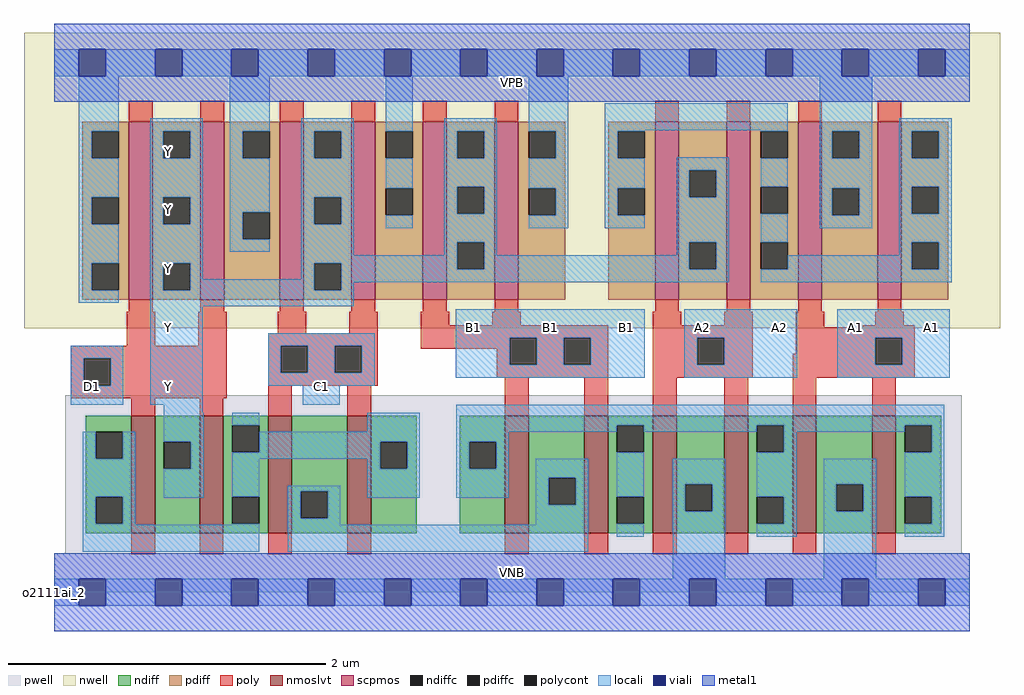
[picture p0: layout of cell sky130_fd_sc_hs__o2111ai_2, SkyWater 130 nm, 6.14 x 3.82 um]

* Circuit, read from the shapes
.subckt sky130_fd_sc_hs__o2111ai_2 A1 A2 B1 C1 D1 VGND VNB VPB VPWR Y
XM1 Y D1 n1 VNB sky130_fd_pr__nfet_01v8_lvt w=0.74 l=0.15 m=2
XM2 n2 C1 n1 VNB sky130_fd_pr__nfet_01v8_lvt w=0.74 l=0.15 m=2
XM3 n2 B1 n3 VNB sky130_fd_pr__nfet_01v8_lvt w=0.74 l=0.15 m=2
XM4 VGND A2 n3 VNB sky130_fd_pr__nfet_01v8_lvt w=0.74 l=0.15 m=2
XM5 VGND A1 n3 VNB sky130_fd_pr__nfet_01v8_lvt w=0.74 l=0.15 m=2
XM6 Y D1 VPWR VPB sky130_fd_pr__pfet_01v8 w=1.12 l=0.15 m=2
XM7 Y C1 VPWR VPB sky130_fd_pr__pfet_01v8 w=1.12 l=0.15 m=2
XM8 Y B1 VPWR VPB sky130_fd_pr__pfet_01v8 w=1.12 l=0.15 m=2
XM9 Y A2 n4 VPB sky130_fd_pr__pfet_01v8 w=1.12 l=0.15 m=2
XM10 VPWR A1 n4 VPB sky130_fd_pr__pfet_01v8 w=1.12 l=0.15 m=2
.ends

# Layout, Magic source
magic
tech sky130A
magscale 1 2
<< nwell >>
rect -38 332 1190 704
<< pwell >>
rect 14 49 1142 248
rect 0 0 1152 49
<< scpmos >>
rect 94 368 124 592
rect 184 368 214 592
rect 284 368 314 592
rect 374 368 404 592
rect 464 368 494 592
rect 554 368 584 592
rect 756 368 786 592
rect 846 368 876 592
rect 936 368 966 592
rect 1036 368 1066 592
<< nmoslvt >>
rect 97 74 127 222
rect 183 74 213 222
rect 269 74 299 222
rect 369 74 399 222
rect 567 74 597 222
rect 667 74 697 222
rect 753 74 783 222
rect 843 74 873 222
rect 929 74 959 222
rect 1029 74 1059 222
<< ndiff >>
rect 40 202 97 222
rect 40 168 52 202
rect 86 168 97 202
rect 40 120 97 168
rect 40 86 52 120
rect 86 86 97 120
rect 40 74 97 86
rect 127 189 183 222
rect 127 155 138 189
rect 172 155 183 189
rect 127 74 183 155
rect 213 210 269 222
rect 213 176 224 210
rect 258 176 269 210
rect 213 120 269 176
rect 213 86 224 120
rect 258 86 269 120
rect 213 74 269 86
rect 299 127 369 222
rect 299 93 310 127
rect 344 93 369 127
rect 299 74 369 93
rect 399 189 456 222
rect 399 155 410 189
rect 444 155 456 189
rect 399 74 456 155
rect 510 189 567 222
rect 510 155 522 189
rect 556 155 567 189
rect 510 74 567 155
rect 597 144 667 222
rect 597 110 622 144
rect 656 110 667 144
rect 597 74 667 110
rect 697 210 753 222
rect 697 176 708 210
rect 742 176 753 210
rect 697 120 753 176
rect 697 86 708 120
rect 742 86 753 120
rect 697 74 753 86
rect 783 136 843 222
rect 783 102 794 136
rect 828 102 843 136
rect 783 74 843 102
rect 873 210 929 222
rect 873 176 884 210
rect 918 176 929 210
rect 873 120 929 176
rect 873 86 884 120
rect 918 86 929 120
rect 873 74 929 86
rect 959 136 1029 222
rect 959 102 984 136
rect 1018 102 1029 136
rect 959 74 1029 102
rect 1059 210 1116 222
rect 1059 176 1070 210
rect 1104 176 1116 210
rect 1059 120 1116 176
rect 1059 86 1070 120
rect 1104 86 1116 120
rect 1059 74 1116 86
<< pdiff >>
rect 35 580 94 592
rect 35 546 47 580
rect 81 546 94 580
rect 35 497 94 546
rect 35 463 47 497
rect 81 463 94 497
rect 35 414 94 463
rect 35 380 47 414
rect 81 380 94 414
rect 35 368 94 380
rect 124 580 184 592
rect 124 546 137 580
rect 171 546 184 580
rect 124 497 184 546
rect 124 463 137 497
rect 171 463 184 497
rect 124 414 184 463
rect 124 380 137 414
rect 171 380 184 414
rect 124 368 184 380
rect 214 580 284 592
rect 214 546 237 580
rect 271 546 284 580
rect 214 478 284 546
rect 214 444 237 478
rect 271 444 284 478
rect 214 368 284 444
rect 314 580 374 592
rect 314 546 327 580
rect 361 546 374 580
rect 314 497 374 546
rect 314 463 327 497
rect 361 463 374 497
rect 314 414 374 463
rect 314 380 327 414
rect 361 380 374 414
rect 314 368 374 380
rect 404 580 464 592
rect 404 546 417 580
rect 451 546 464 580
rect 404 508 464 546
rect 404 474 417 508
rect 451 474 464 508
rect 404 368 464 474
rect 494 580 554 592
rect 494 546 507 580
rect 541 546 554 580
rect 494 510 554 546
rect 494 476 507 510
rect 541 476 554 510
rect 494 440 554 476
rect 494 406 507 440
rect 541 406 554 440
rect 494 368 554 406
rect 584 580 643 592
rect 584 546 597 580
rect 631 546 643 580
rect 584 508 643 546
rect 584 474 597 508
rect 631 474 643 508
rect 584 368 643 474
rect 697 580 756 592
rect 697 546 709 580
rect 743 546 756 580
rect 697 508 756 546
rect 697 474 709 508
rect 743 474 756 508
rect 697 368 756 474
rect 786 531 846 592
rect 786 497 799 531
rect 833 497 846 531
rect 786 440 846 497
rect 786 406 799 440
rect 833 406 846 440
rect 786 368 846 406
rect 876 580 936 592
rect 876 546 889 580
rect 923 546 936 580
rect 876 510 936 546
rect 876 476 889 510
rect 923 476 936 510
rect 876 440 936 476
rect 876 406 889 440
rect 923 406 936 440
rect 876 368 936 406
rect 966 580 1036 592
rect 966 546 979 580
rect 1013 546 1036 580
rect 966 508 1036 546
rect 966 474 979 508
rect 1013 474 1036 508
rect 966 368 1036 474
rect 1066 580 1125 592
rect 1066 546 1079 580
rect 1113 546 1125 580
rect 1066 510 1125 546
rect 1066 476 1079 510
rect 1113 476 1125 510
rect 1066 440 1125 476
rect 1066 406 1079 440
rect 1113 406 1125 440
rect 1066 368 1125 406
<< ndiffc >>
rect 52 168 86 202
rect 52 86 86 120
rect 138 155 172 189
rect 224 176 258 210
rect 224 86 258 120
rect 310 93 344 127
rect 410 155 444 189
rect 522 155 556 189
rect 622 110 656 144
rect 708 176 742 210
rect 708 86 742 120
rect 794 102 828 136
rect 884 176 918 210
rect 884 86 918 120
rect 984 102 1018 136
rect 1070 176 1104 210
rect 1070 86 1104 120
<< pdiffc >>
rect 47 546 81 580
rect 47 463 81 497
rect 47 380 81 414
rect 137 546 171 580
rect 137 463 171 497
rect 137 380 171 414
rect 237 546 271 580
rect 237 444 271 478
rect 327 546 361 580
rect 327 463 361 497
rect 327 380 361 414
rect 417 546 451 580
rect 417 474 451 508
rect 507 546 541 580
rect 507 476 541 510
rect 507 406 541 440
rect 597 546 631 580
rect 597 474 631 508
rect 709 546 743 580
rect 709 474 743 508
rect 799 497 833 531
rect 799 406 833 440
rect 889 546 923 580
rect 889 476 923 510
rect 889 406 923 440
rect 979 546 1013 580
rect 979 474 1013 508
rect 1079 546 1113 580
rect 1079 476 1113 510
rect 1079 406 1113 440
<< poly >>
rect 94 592 124 618
rect 184 592 214 618
rect 284 592 314 618
rect 374 592 404 618
rect 464 592 494 618
rect 554 592 584 618
rect 756 592 786 618
rect 846 592 876 618
rect 936 592 966 618
rect 1036 592 1066 618
rect 94 353 124 368
rect 184 353 214 368
rect 284 353 314 368
rect 374 353 404 368
rect 464 353 494 368
rect 554 353 584 368
rect 756 353 786 368
rect 846 353 876 368
rect 936 353 966 368
rect 1036 353 1066 368
rect 91 310 127 353
rect 181 310 217 353
rect 281 326 317 353
rect 371 326 407 353
rect 21 294 217 310
rect 21 260 37 294
rect 71 260 217 294
rect 21 244 217 260
rect 269 310 407 326
rect 269 276 285 310
rect 319 276 353 310
rect 387 276 407 310
rect 461 336 497 353
rect 551 336 587 353
rect 753 336 789 353
rect 843 336 879 353
rect 461 320 697 336
rect 461 306 573 320
rect 269 260 407 276
rect 557 286 573 306
rect 607 286 641 320
rect 675 286 697 320
rect 557 270 697 286
rect 97 222 127 244
rect 183 222 213 244
rect 269 222 299 260
rect 369 222 399 260
rect 567 222 597 270
rect 667 222 697 270
rect 753 320 879 336
rect 753 286 809 320
rect 843 286 879 320
rect 933 333 969 353
rect 1033 336 1069 353
rect 1017 333 1083 336
rect 933 320 1083 333
rect 933 300 1033 320
rect 753 270 879 286
rect 929 286 1033 300
rect 1067 286 1083 320
rect 929 270 1083 286
rect 753 222 783 270
rect 843 222 873 270
rect 929 222 959 270
rect 1029 222 1059 270
rect 97 48 127 74
rect 183 48 213 74
rect 269 48 299 74
rect 369 48 399 74
rect 567 48 597 74
rect 667 48 697 74
rect 753 48 783 74
rect 843 48 873 74
rect 929 48 959 74
rect 1029 48 1059 74
<< polycont >>
rect 37 260 71 294
rect 285 276 319 310
rect 353 276 387 310
rect 573 286 607 320
rect 641 286 675 320
rect 809 286 843 320
rect 1033 286 1067 320
<< locali >>
rect 0 649 31 683
rect 65 649 127 683
rect 161 649 223 683
rect 257 649 319 683
rect 353 649 415 683
rect 449 649 511 683
rect 545 649 607 683
rect 641 649 703 683
rect 737 649 799 683
rect 833 649 895 683
rect 929 649 991 683
rect 1025 649 1087 683
rect 1121 649 1152 683
rect 31 580 81 649
rect 31 546 47 580
rect 31 497 81 546
rect 31 463 47 497
rect 31 414 81 463
rect 31 380 47 414
rect 31 364 81 380
rect 121 580 187 596
rect 121 546 137 580
rect 171 546 187 580
rect 121 497 187 546
rect 121 463 137 497
rect 171 463 187 497
rect 121 414 187 463
rect 221 580 271 649
rect 221 546 237 580
rect 221 478 271 546
rect 221 444 237 478
rect 221 428 271 444
rect 311 580 377 596
rect 311 546 327 580
rect 361 546 377 580
rect 311 497 377 546
rect 311 463 327 497
rect 361 463 377 497
rect 121 380 137 414
rect 171 394 187 414
rect 311 424 377 463
rect 417 580 451 649
rect 417 508 451 546
rect 417 458 451 474
rect 491 580 557 596
rect 491 546 507 580
rect 541 546 557 580
rect 491 510 557 546
rect 491 476 507 510
rect 541 476 557 510
rect 491 440 557 476
rect 597 580 647 649
rect 631 546 647 580
rect 597 508 647 546
rect 631 474 647 508
rect 597 458 647 474
rect 693 581 923 615
rect 693 580 743 581
rect 693 546 709 580
rect 889 580 923 581
rect 693 508 743 546
rect 693 474 709 508
rect 693 458 743 474
rect 783 531 849 547
rect 783 497 799 531
rect 833 497 849 531
rect 491 424 507 440
rect 311 414 507 424
rect 311 394 327 414
rect 171 380 327 394
rect 361 406 507 414
rect 541 424 557 440
rect 783 440 849 497
rect 783 424 799 440
rect 541 406 799 424
rect 833 406 849 440
rect 361 390 849 406
rect 889 510 923 546
rect 889 440 923 476
rect 963 580 1029 649
rect 963 546 979 580
rect 1013 546 1029 580
rect 963 508 1029 546
rect 963 474 979 508
rect 1013 474 1029 508
rect 963 458 1029 474
rect 1063 580 1129 596
rect 1063 546 1079 580
rect 1113 546 1129 580
rect 1063 510 1129 546
rect 1063 476 1079 510
rect 1113 476 1129 510
rect 1063 440 1129 476
rect 1063 424 1079 440
rect 923 406 1079 424
rect 1113 406 1129 440
rect 889 390 1129 406
rect 361 380 377 390
rect 121 360 377 380
rect 21 294 87 310
rect 21 260 37 294
rect 71 260 87 294
rect 21 236 87 260
rect 121 236 187 360
rect 269 310 403 326
rect 269 276 285 310
rect 319 276 353 310
rect 387 276 403 310
rect 269 260 403 276
rect 505 320 743 356
rect 505 286 573 320
rect 607 286 641 320
rect 675 286 743 320
rect 505 270 743 286
rect 793 320 935 356
rect 793 286 809 320
rect 843 286 935 320
rect 793 270 935 286
rect 985 320 1127 356
rect 985 286 1033 320
rect 1067 286 1127 320
rect 985 270 1127 286
rect 313 236 359 260
rect 138 226 187 236
rect 36 168 52 202
rect 86 168 102 202
rect 36 120 102 168
rect 36 86 52 120
rect 86 86 102 120
rect 138 189 188 226
rect 172 155 188 189
rect 138 119 188 155
rect 224 210 258 226
rect 394 202 460 226
rect 258 189 460 202
rect 258 176 410 189
rect 224 168 410 176
rect 224 120 258 168
rect 394 155 410 168
rect 444 155 460 189
rect 36 85 102 86
rect 224 85 258 86
rect 36 51 258 85
rect 294 127 360 134
rect 294 93 310 127
rect 344 93 360 127
rect 394 119 460 155
rect 506 210 1120 236
rect 506 202 708 210
rect 506 189 572 202
rect 506 155 522 189
rect 556 155 572 189
rect 742 202 884 210
rect 506 119 572 155
rect 606 144 672 168
rect 294 85 360 93
rect 606 110 622 144
rect 656 110 672 144
rect 606 85 672 110
rect 294 51 672 85
rect 708 120 742 176
rect 918 202 1070 210
rect 918 176 934 202
rect 708 70 742 86
rect 778 136 844 168
rect 778 102 794 136
rect 828 102 844 136
rect 778 17 844 102
rect 884 120 934 176
rect 1104 176 1120 210
rect 918 86 934 120
rect 884 70 934 86
rect 968 136 1034 168
rect 968 102 984 136
rect 1018 102 1034 136
rect 968 17 1034 102
rect 1070 120 1120 176
rect 1104 86 1120 120
rect 1070 70 1120 86
rect 0 -17 31 17
rect 65 -17 127 17
rect 161 -17 223 17
rect 257 -17 319 17
rect 353 -17 415 17
rect 449 -17 511 17
rect 545 -17 607 17
rect 641 -17 703 17
rect 737 -17 799 17
rect 833 -17 895 17
rect 929 -17 991 17
rect 1025 -17 1087 17
rect 1121 -17 1152 17
<< viali >>
rect 31 649 65 683
rect 127 649 161 683
rect 223 649 257 683
rect 319 649 353 683
rect 415 649 449 683
rect 511 649 545 683
rect 607 649 641 683
rect 703 649 737 683
rect 799 649 833 683
rect 895 649 929 683
rect 991 649 1025 683
rect 1087 649 1121 683
rect 31 -17 65 17
rect 127 -17 161 17
rect 223 -17 257 17
rect 319 -17 353 17
rect 415 -17 449 17
rect 511 -17 545 17
rect 607 -17 641 17
rect 703 -17 737 17
rect 799 -17 833 17
rect 895 -17 929 17
rect 991 -17 1025 17
rect 1087 -17 1121 17
<< metal1 >>
rect 0 683 1152 715
rect 0 649 31 683
rect 65 649 127 683
rect 161 649 223 683
rect 257 649 319 683
rect 353 649 415 683
rect 449 649 511 683
rect 545 649 607 683
rect 641 649 703 683
rect 737 649 799 683
rect 833 649 895 683
rect 929 649 991 683
rect 1025 649 1087 683
rect 1121 649 1152 683
rect 0 617 1152 649
rect 0 17 1152 49
rect 0 -17 31 17
rect 65 -17 127 17
rect 161 -17 223 17
rect 257 -17 319 17
rect 353 -17 415 17
rect 449 -17 511 17
rect 545 -17 607 17
rect 641 -17 703 17
rect 737 -17 799 17
rect 833 -17 895 17
rect 929 -17 991 17
rect 1025 -17 1087 17
rect 1121 -17 1152 17
rect 0 -49 1152 -17
<< labels >>
rlabel comment s 0 0 0 0 4 o2111ai_2
flabel pwell s 0 0 1152 49 0 FreeSans 200 0 0 0 VNB
port 7 nsew ground bidirectional
flabel nwell s 0 617 1152 666 0 FreeSans 200 0 0 0 VPB
port 8 nsew power bidirectional
flabel metal1 s 0 617 1152 666 0 FreeSans 340 0 0 0 VPWR
port 9 nsew power bidirectional
flabel metal1 s 0 0 1152 49 0 FreeSans 340 0 0 0 VGND
port 6 nsew ground bidirectional
flabel locali s 31 242 65 276 0 FreeSans 340 0 0 0 D1
port 5 nsew signal input
flabel locali s 319 242 353 276 0 FreeSans 340 0 0 0 C1
port 4 nsew signal input
flabel locali s 511 316 545 350 0 FreeSans 340 0 0 0 B1
port 3 nsew signal input
flabel locali s 607 316 641 350 0 FreeSans 340 0 0 0 B1
port 3 nsew signal input
flabel locali s 703 316 737 350 0 FreeSans 340 0 0 0 B1
port 3 nsew signal input
flabel locali s 799 316 833 350 0 FreeSans 340 0 0 0 A2
port 2 nsew signal input
flabel locali s 895 316 929 350 0 FreeSans 340 0 0 0 A2
port 2 nsew signal input
flabel locali s 991 316 1025 350 0 FreeSans 340 0 0 0 A1
port 1 nsew signal input
flabel locali s 1087 316 1121 350 0 FreeSans 340 0 0 0 A1
port 1 nsew signal input
flabel locali s 127 242 161 276 0 FreeSans 340 0 0 0 Y
port 10 nsew signal output
flabel locali s 127 316 161 350 0 FreeSans 340 0 0 0 Y
port 10 nsew signal output
flabel locali s 127 390 161 424 0 FreeSans 340 0 0 0 Y
port 10 nsew signal output
flabel locali s 127 464 161 498 0 FreeSans 340 0 0 0 Y
port 10 nsew signal output
flabel locali s 127 538 161 572 0 FreeSans 340 0 0 0 Y
port 10 nsew signal output
<< properties >>
string LEFsite unit
string LEFclass CORE
string FIXED_BBOX 0 0 1152 666
string GDS_FILE $PDKPATH/libs.ref/sky130_fd_sc_hs/gds/sky130_fd_sc_hs.gds
string LEFsymmetry X Y
string GDS_END 2738054
string GDS_START 2727138
<< end >>
